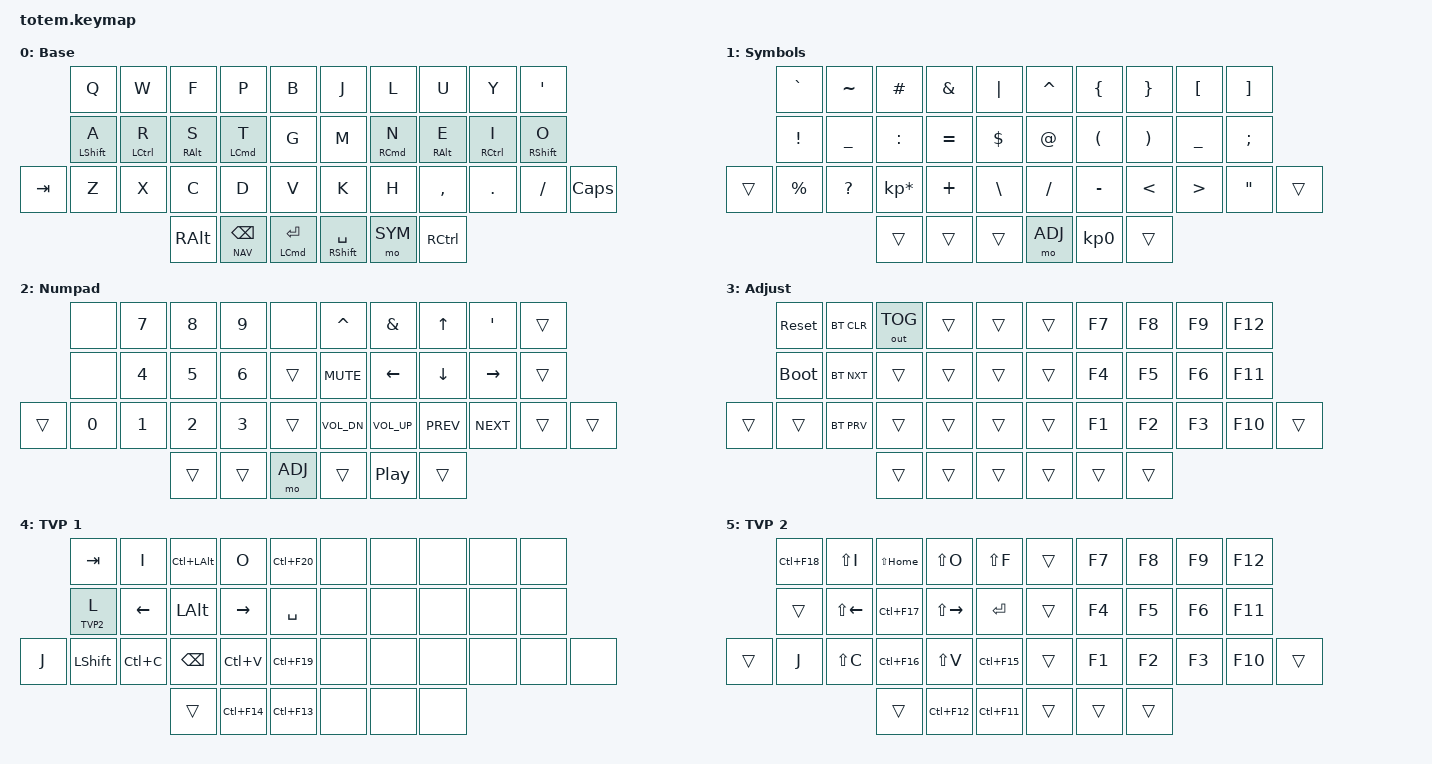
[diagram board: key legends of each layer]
//
//                                                        ▀▀▀▀▀     ▀▀▀▀▀          ▀▀█▀▀
//                                                        ▄▀▀▀▄  ▄  ▄▀▀▀▄  ▄  ▄▀▀▀▄  █  ▄▀▀▀▄
//                                                        █   █  █  █   █  █  █   █  █  █   █
//                                                         ▀▀▀   █   ▀▀▀   █   ▀▀▀   ▀   ▀▀▀
//                                                               █      ▄▄▄█▄▄▄    █   █  
//                                                               ▀      █  █  █     █▄█
//                                                             ▀▀▀▀▀    █  █  █      ▀
//                                                                      ▀  ▀  ▀
//
// ▄▄▄▄▄▄▄▄▄▄▄▄▄▄▄▄▄▄▄▄▄▄▄▄▄▄▄▄▄▄▄▄▄▄▄▄▄▄▄▄▄▄▄▄▄▄▄▄▄▄▄▄▄▄▄▄▄▄▄▄▄▄▄▄▄▄▄▄▄▄▄▄▄▄▄▄▄▄▄▄▄▄▄▄▄▄▄▄▄▄▄▄▄▄▄▄▄▄▄▄▄▄▄▄▄▄▄▄▄▄▄▄▄▄▄▄▄▄▄▄▄▄▄▄▄▄▄▄▄▄▄▄▄▄▄▄▄▄▄▄▄▄▄▄▄▄▄▄▄

#include <behaviors.dtsi>
#include <dt-bindings/zmk/bt.h>
#include <dt-bindings/zmk/keys.h>
#include <dt-bindings/zmk/outputs.h>

#define BASE 0
#define NAV  1
#define SYM  2
#define ADJ  3
#define TVP1 4
#define TVP2 5

&mt {
    quick-tap-ms = <100>;
    global-quick-tap;
    flavor = "tap-preferred";
    tapping-term-ms = <170>;
};

/ {
    combos {
        compatible = "zmk,combos";

        combo_esc {
            timeout-ms = <50>;
            key-positions = <0 1>;
            bindings = <&kp ESC>;
        };

        combo_caps {
            bindings = <&caps_word>;
            key-positions = <21 22>;
        };

        caps-left {
            bindings = <&kp LEFT>;
            key-positions = <31 16>;
        };

        caps-down {
            bindings = <&kp DOWN_ARROW>;
            key-positions = <31 17>;
        };

        caps-up {
            bindings = <&kp UP_ARROW>;
            key-positions = <31 18>;
        };

        caps-right {
            bindings = <&kp UP_ARROW>;
            key-positions = <31 19>;
        };
    };

    behaviors {
        hml: hml {
            compatible = "zmk,behavior-hold-tap";
            label = "HML";
            bindings = <&kp>, <&kp>;

            #binding-cells = <2>;
            hold-trigger-key-positions = <5 6 7 8 9 15 16 17 18 19 26 27 28 29 30 31 35 36 37 32 33 34>;
            flavor = "balanced";
            tapping-term-ms = <300>;
            quick-tap-ms = <175>;
            require-prior-idle-ms = <150>;
            hold-trigger-on-release;
        };

        hmr: hmr {
            compatible = "zmk,behavior-hold-tap";
            label = "HMR";
            bindings = <&kp>, <&kp>;

            #binding-cells = <2>;
            flavor = "balanced";
            tapping-term-ms = <300>;
            hold-trigger-key-positions = <0 1 2 3 4 10 11 12 13 14 20 21 22 23 24 25 32 33 34 35 36 37>;
            quick-tap-ms = <175>;
            require-prior-idle-ms = <150>;
            hold-trigger-on-release;
        };

        ht: ht {
            compatible = "zmk,behavior-hold-tap";
            label = "hold tap";
            bindings = <&kp>, <&kp>;

            #binding-cells = <2>;
            tapping-term-ms = <250>;
            flavor = "balanced";
            quick-tap-ms = <200>;
        };

        htl: htl {
            compatible = "zmk,behavior-hold-tap";
            label = "hold tap layer";
            bindings = <&mo>, <&kp>;

            #binding-cells = <2>;
            tapping-term-ms = <300>;
            quick-tap-ms = <200>;
            flavor = "hold-preferred";
        };
    };

    keymap {
        compatible = "zmk,keymap";

        // ▄▄▄▄▄▄▄▄▄▄▄▄▄▄▄▄▄▄▄▄▄▄▄▄▄▄▄▄▄▄▄▄▄▄▄▄▄▄▄▄▄▄▄▄▄▄▄▄▄▄▄▄▄▄▄▄▄▄▄▄▄▄▄▄▄▄▄▄▄▄▄▄▄▄▄▄▄▄▄▄▄▄▄▄▄▄▄▄▄▄▄▄▄▄▄▄▄▄▄▄▄▄▄▄▄▄▄▄▄▄▄▄▄▄▄▄▄▄▄▄▄▄▄▄▄▄▄▄▄▄▄▄▄▄▄▄▄▄▄▄▄▄▄▄▄▄▄▄▄

        base_layer {
            display-name = "Base";

            // ┏━━━━━━━━━━━━━━━━━━━━━━━━━━━━━━━━━━━━━━━┓

            label = "BASE";

            // ┗━━━━━━━━━━━━━━━━━━━━━━━━━━━━━━━━━━━━━━━┛
            //             ┏━━━━━━━━━━━┳━━━━━━━━━━━┳━━━━━━━━━━━┳━━━━━━━━━━━┳━━━━━━━━━━━┓   ┏━━━━━━━━━━━┳━━━━━━━━━━━┳━━━━━━━━━━━┳━━━━━━━━━━━┳━━━━━━━━━━━┓
            //             ┃     Q     ┃     W     ┃     F     ┃     P     ┃     B     ┃   ┃     J     ┃     L     ┃     U     ┃     Y     ┃     ;     ┃
            //             ┣━━━━━━━━━━━╋━━━━━━━━━━━╋━━━━━━━━━━━╋━━━━━━━━━━━╋━━━━━━━━━━━┫   ┣━━━━━━━━━━━╋━━━━━━━━━━━╋━━━━━━━━━━━╋━━━━━━━━━━━╋━━━━━━━━━━━┫
            //             ┃     A     ┃     R     ┃     S     ┃     T     ┃     D     ┃   ┃     M     ┃     N     ┃     E     ┃     I     ┃     O     ┃
            // ┏━━━━━━━━━━━╋━━━━━━━━━━━╋━━━━━━━━━━━╋━━━━━━━━━━━╋━━━━━━━━━━━╋━━━━━━━━━━━┫   ┣━━━━━━━━━━━╋━━━━━━━━━━━╋━━━━━━━━━━━╋━━━━━━━━━━━╋━━━━━━━━━━━╋━━━━━━━━━━━┓
            // ┃     Q     ┃     Z     ┃     X     ┃     C     ┃     D     ┃     V     ┃   ┃     K     ┃     H     ┃     ,     ┃     .     ┃     /     ┃     \     ┃
            // ┗━━━━━━━━━━━┻━━━━━━━━━━━┻━━━━━━━━━━━╋━━━━━━━━━━━╋━━━━━━━━━━━╋━━━━━━━━━━━┫   ┣━━━━━━━━━━━╋━━━━━━━━━━━╋━━━━━━━━━━━╋━━━━━━━━━━━┻━━━━━━━━━━━┻━━━━━━━━━━━┛
            //                                     ┃    DEL    ┃    TAB    ┃   ENTER   ┃   ┃    SPC    ┃           ┃   BSPC    ┃
            //                                     ┗━━━━━━━━━━━┻━━━━━━━━━━━┻━━━━━━━━━━━┛   ┗━━━━━━━━━━━┻━━━━━━━━━━━┻━━━━━━━━━━━┛

            bindings = <
         &kp Q          &kp W                &kp F        &kp P                &kp B                     &kp J             &kp L                 &kp U              &kp Y                 &kp SQT
         &hml LSHIFT A  &hml LEFT_CONTROL R  &hml RALT S  &hml LEFT_COMMAND T  &kp G                     &kp M             &hmr RIGHT_COMMAND N  &hmr RALT E        &hmr RIGHT_CONTROL I  &hmr RSHIFT O
&kp TAB  &kp Z          &kp X                &kp C        &kp D                &kp V                     &kp K             &kp H                 &kp COMMA          &kp DOT               &kp FSLH       &kp CAPS
                                             &kp RALT     &htl NAV BACKSPACE   &ht LEFT_COMMAND ENTER    &ht RSHIFT SPACE  &mo SYM               &kp RIGHT_CONTROL
            >;
        };

        // ▄▄▄▄▄▄▄▄▄▄▄▄▄▄▄▄▄▄▄▄▄▄▄▄▄▄▄▄▄▄▄▄▄▄▄▄▄▄▄▄▄▄▄▄▄▄▄▄▄▄▄▄▄▄▄▄▄▄▄▄▄▄▄▄▄▄▄▄▄▄▄▄▄▄▄▄▄▄▄▄▄▄▄▄▄▄▄▄▄▄▄▄▄▄▄▄▄▄▄▄▄▄▄▄▄▄▄▄▄▄▄▄▄▄▄▄▄▄▄▄▄▄▄▄▄▄▄▄▄▄▄▄▄▄▄▄▄▄▄▄▄▄▄▄▄▄▄▄▄

        upper {
            display-name = "Symbols";

            // ┏━━━━━━━━━━━━━━━━━━━━━━━━━━━━━━━━━━━━━━━┓

            label = "upper";

            // ┗━━━━━━━━━━━━━━━━━━━━━━━━━━━━━━━━━━━━━━━┛
            //             ┏━━━━━━━━━━━┳━━━━━━━━━━━┳━━━━━━━━━━━┳━━━━━━━━━━━┳━━━━━━━━━━━┓   ┏━━━━━━━━━━━┳━━━━━━━━━━━┳━━━━━━━━━━━┳━━━━━━━━━━━┳━━━━━━━━━━━┓
            //             ┃           ┃           ┃     UP    ┃           ┃     {     ┃   ┃     }     ┃     7     ┃     8     ┃     9     ┃     +     ┃
            //             ┣━━━━━━━━━━━╋━━━━━━━━━━━╋━━━━━━━━━━━╋━━━━━━━━━━━╋━━━━━━━━━━━┫   ┣━━━━━━━━━━━╋━━━━━━━━━━━╋━━━━━━━━━━━╋━━━━━━━━━━━╋━━━━━━━━━━━┫
            //             ┃   SHIFT   ┃   LEFT    ┃    DOWN   ┃   RIGHT   ┃     [     ┃   ┃     ]     ┃     4     ┃     5     ┃     6     ┃     -     ┃
            // ┏━━━━━━━━━━━╋━━━━━━━━━━━╋━━━━━━━━━━━╋━━━━━━━━━━━╋━━━━━━━━━━━╋━━━━━━━━━━━┫   ┣━━━━━━━━━━━╋━━━━━━━━━━━╋━━━━━━━━━━━╋━━━━━━━━━━━╋━━━━━━━━━━━╋━━━━━━━━━━━┓
            // ┃           ┃           ┃   P UP    ┃  C LOCK   ┃  P DOWN   ┃     (     ┃   ┃     )     ┃     1     ┃     2     ┃     3     ┃     *     ┃           ┃
            // ┗━━━━━━━━━━━┻━━━━━━━━━━━┻━━━━━━━━━━━╋━━━━━━━━━━━╋━━━━━━━━━━━╋━━━━━━━━━━━┫   ┣━━━━━━━━━━━╋━━━━━━━━━━━╋━━━━━━━━━━━╋━━━━━━━━━━━┻━━━━━━━━━━━┻━━━━━━━━━━━┛
            //                                     ┃           ┃    TAB    ┃    SPC    ┃   ┃    DEL    ┃     0     ┃           ┃
            //                                     ┗━━━━━━━━━━━┻━━━━━━━━━━━┻━━━━━━━━━━━┛   ┗━━━━━━━━━━━┻━━━━━━━━━━━┻━━━━━━━━━━━┛

            bindings = <
        &kp GRAVE    &kp TILDE     &kp HASH         &kp AMPS   &kp PIPE         &kp CARET  &kp LBRC   &kp RBRC       &kp LBKT   &kp RBKT
        &kp EXCL     &kp UNDER     &kp COLON        &kp EQUAL  &kp DOLLAR       &kp AT     &kp LPAR   &kp RPAR       &kp UNDER  &kp SEMI
&trans  &kp PERCENT  &kp QUESTION  &kp KP_MULTIPLY  &kp PLUS   &kp BACKSLASH    &kp SLASH  &kp MINUS  &kp LESS_THAN  &kp GT     &kp DOUBLE_QUOTES  &trans
                                   &trans           &trans     &trans           &mo ADJ    &kp KP_N0  &trans
            >;
        };

        // ▄▄▄▄▄▄▄▄▄▄▄▄▄▄▄▄▄▄▄▄▄▄▄▄▄▄▄▄▄▄▄▄▄▄▄▄▄▄▄▄▄▄▄▄▄▄▄▄▄▄▄▄▄▄▄▄▄▄▄▄▄▄▄▄▄▄▄▄▄▄▄▄▄▄▄▄▄▄▄▄▄▄▄▄▄▄▄▄▄▄▄▄▄▄▄▄▄▄▄▄▄▄▄▄▄▄▄▄▄▄▄▄▄▄▄▄▄▄▄▄▄▄▄▄▄▄▄▄▄▄▄▄▄▄▄▄▄▄▄▄▄▄▄▄▄▄▄▄▄

        sim_layer {
            display-name = "Numpad";

            // ┏━━━━━━━━━━━━━━━━━━━━━━━━━━━━━━━━━━━━━━━┓

            label = "SYM";

            // ┗━━━━━━━━━━━━━━━━━━━━━━━━━━━━━━━━━━━━━━━┛
            //             ┏━━━━━━━━━━━┳━━━━━━━━━━━┳━━━━━━━━━━━┳━━━━━━━━━━━┳━━━━━━━━━━━┓   ┏━━━━━━━━━━━┳━━━━━━━━━━━┳━━━━━━━━━━━┳━━━━━━━━━━━┳━━━━━━━━━━━┓
            //             ┃     !     ┃     @     ┃     #     ┃     $     ┃     %     ┃   ┃     ˆ     ┃     &     ┃     Ü     ┃     '     ┃     "     ┃
            //             ┣━━━━━━━━━━━╋━━━━━━━━━━━╋━━━━━━━━━━━╋━━━━━━━━━━━╋━━━━━━━━━━━┫   ┣━━━━━━━━━━━╋━━━━━━━━━━━╋━━━━━━━━━━━╋━━━━━━━━━━━╋━━━━━━━━━━━┫
            //             ┃     Ä     ┃           ┃    SZ     ┃           ┃           ┃   ┃   MUTE    ┃   YEN     ┃   EURO    ┃  POUND    ┃     Ö     ┃
            // ┏━━━━━━━━━━━╋━━━━━━━━━━━╋━━━━━━━━━━━╋━━━━━━━━━━━╋━━━━━━━━━━━╋━━━━━━━━━━━┫   ┣━━━━━━━━━━━╋━━━━━━━━━━━╋━━━━━━━━━━━╋━━━━━━━━━━━╋━━━━━━━━━━━╋━━━━━━━━━━━┓
            // ┃           ┃  EMAIL1   ┃  EMAIL2   ┃           ┃           ┃           ┃   ┃   VOL-    ┃   VOL+    ┃   LAST    ┃   NEXT    ┃     \     ┃           ┃
            // ┗━━━━━━━━━━━┻━━━━━━━━━━━┻━━━━━━━━━━━╋━━━━━━━━━━━╋━━━━━━━━━━━╋━━━━━━━━━━━┫   ┣━━━━━━━━━━━╋━━━━━━━━━━━╋━━━━━━━━━━━╋━━━━━━━━━━━┻━━━━━━━━━━━┻━━━━━━━━━━━┛
            //                                     ┃           ┃    GIF    ┃    ADJ    ┃   ┃           ┃           ┃           ┃
            //                                     ┗━━━━━━━━━━━┻━━━━━━━━━━━┻━━━━━━━━━━━┛   ┗━━━━━━━━━━━┻━━━━━━━━━━━┻━━━━━━━━━━━┛

            bindings = <
        &none   &kp N7        &kp N8        &kp N9        &none      &kp CARET     &kp AMPS      &kp UP_ARROW    &kp SQT     &trans
        &none   &kp NUMBER_4  &kp N5        &kp NUMBER_6  &trans     &kp C_MUTE    &kp LEFT      &kp DOWN_ARROW  &kp RIGHT   &trans
&trans  &kp N0  &kp NUMBER_1  &kp NUMBER_2  &kp NUMBER_3  &trans     &kp C_VOL_DN  &kp C_VOL_UP  &kp C_PREV      &kp C_NEXT  &trans  &trans
                              &trans        &trans        &mo ADJ    &trans        &kp C_PP      &trans
            >;
        };

        // ▄▄▄▄▄▄▄▄▄▄▄▄▄▄▄▄▄▄▄▄▄▄▄▄▄▄▄▄▄▄▄▄▄▄▄▄▄▄▄▄▄▄▄▄▄▄▄▄▄▄▄▄▄▄▄▄▄▄▄▄▄▄▄▄▄▄▄▄▄▄▄▄▄▄▄▄▄▄▄▄▄▄▄▄▄▄▄▄▄▄▄▄▄▄▄▄▄▄▄▄▄▄▄▄▄▄▄▄▄▄▄▄▄▄▄▄▄▄▄▄▄▄▄▄▄▄▄▄▄▄▄▄▄▄▄▄▄▄▄▄▄▄▄▄▄▄▄▄▄

        adjust_layer {
            display-name = "Adjust";

            // ┏━━━━━━━━━━━━━━━━━━━━━━━━━━━━━━━━━━━━━━━┓

            label = "ADJ";

            // ┗━━━━━━━━━━━━━━━━━━━━━━━━━━━━━━━━━━━━━━━┛
            //             ┏━━━━━━━━━━━┳━━━━━━━━━━━┳━━━━━━━━━━━┳━━━━━━━━━━━┳━━━━━━━━━━━┓   ┏━━━━━━━━━━━┳━━━━━━━━━━━┳━━━━━━━━━━━┳━━━━━━━━━━━┳━━━━━━━━━━━┓
            //             ┃   RESET   ┃ BT CLEAR  ┃  OUT TOG  ┃           ┃           ┃   ┃           ┃    F7     ┃    F8     ┃    F9     ┃    F12    ┃
            //             ┣━━━━━━━━━━━╋━━━━━━━━━━━╋━━━━━━━━━━━╋━━━━━━━━━━━╋━━━━━━━━━━━┫   ┣━━━━━━━━━━━╋━━━━━━━━━━━╋━━━━━━━━━━━╋━━━━━━━━━━━╋━━━━━━━━━━━┫
            //             ┃ BOOTLOAD  ┃ BT NEXT   ┃           ┃           ┃           ┃   ┃           ┃    F4     ┃    F5     ┃    F6     ┃    F11    ┃
            // ┏━━━━━━━━━━━╋━━━━━━━━━━━╋━━━━━━━━━━━╋━━━━━━━━━━━╋━━━━━━━━━━━╋━━━━━━━━━━━┫   ┣━━━━━━━━━━━╋━━━━━━━━━━━╋━━━━━━━━━━━╋━━━━━━━━━━━╋━━━━━━━━━━━╋━━━━━━━━━━━┓
            // ┃           ┃           ┃ BT PREV   ┃           ┃           ┃           ┃   ┃           ┃    F1     ┃    F2     ┃    F3     ┃    F10    ┃           ┃
            // ┗━━━━━━━━━━━┻━━━━━━━━━━━┻━━━━━━━━━━━╋━━━━━━━━━━━╋━━━━━━━━━━━╋━━━━━━━━━━━┫   ┣━━━━━━━━━━━╋━━━━━━━━━━━╋━━━━━━━━━━━╋━━━━━━━━━━━┻━━━━━━━━━━━┻━━━━━━━━━━━┛
            //                                     ┃           ┃           ┃           ┃   ┃           ┃           ┃           ┃
            //                                     ┗━━━━━━━━━━━┻━━━━━━━━━━━┻━━━━━━━━━━━┛   ┗━━━━━━━━━━━┻━━━━━━━━━━━┻━━━━━━━━━━━┛

            bindings = <
        &sys_reset   &bt BT_CLR  &out OUT_TOG  &trans  &trans    &trans  &kp F7  &kp F8  &kp F9  &kp F12
        &bootloader  &bt BT_NXT  &trans        &trans  &trans    &trans  &kp F4  &kp F5  &kp F6  &kp F11
&trans  &trans       &bt BT_PRV  &trans        &trans  &trans    &trans  &kp F1  &kp F2  &kp F3  &kp F10  &trans
                                 &trans        &trans  &trans    &trans  &trans  &trans
            >;
        };

        // ▄▄▄▄▄▄▄▄▄▄▄▄▄▄▄▄▄▄▄▄▄▄▄▄▄▄▄▄▄▄▄▄▄▄▄▄▄▄▄▄▄▄▄▄▄▄▄▄▄▄▄▄▄▄▄▄▄▄▄▄▄▄▄▄▄▄▄▄▄▄▄▄▄▄▄▄▄▄▄▄▄▄▄▄▄▄▄▄▄▄▄▄▄▄▄▄▄▄▄▄▄▄▄▄▄▄▄▄▄▄▄▄▄▄▄▄▄▄▄▄▄▄▄▄▄▄▄▄▄▄▄▄▄▄▄▄▄▄▄▄▄▄▄▄▄▄▄▄▄

        tvp1_layer {
            // ┏━━━━━━━━━━━━━━━━━━━━━━━━━━━━━━━━━━━━━━━┓

            label = "TVP 1";

            // ┗━━━━━━━━━━━━━━━━━━━━━━━━━━━━━━━━━━━━━━━┛
            //             ┏━━━━━━━━━━━┳━━━━━━━━━━━┳━━━━━━━━━━━┳━━━━━━━━━━━┳━━━━━━━━━━━┓   ┏━━━━━━━━━━━┳━━━━━━━━━━━┳━━━━━━━━━━━┳━━━━━━━━━━━┳━━━━━━━━━━━┓
            //             ┃ NEXT FILE ┃ MARK IN   ┃ ROTATE    ┃ MARK OUT  ┃ SHOW SNAP ┃   ┃           ┃           ┃           ┃           ┃           ┃
            //             ┣━━━━━━━━━━━╋━━━━━━━━━━━╋━━━━━━━━━━━╋━━━━━━━━━━━╋━━━━━━━━━━━┫   ┣━━━━━━━━━━━╋━━━━━━━━━━━╋━━━━━━━━━━━╋━━━━━━━━━━━╋━━━━━━━━━━━┫
            //             ┃ TVP II    ┃ LEFT      ┃ PAN       ┃ RIGHT     ┃ PLAY/FLIP ┃   ┃           ┃           ┃           ┃           ┃           ┃
            // ┏━━━━━━━━━━━╋━━━━━━━━━━━╋━━━━━━━━━━━╋━━━━━━━━━━━╋━━━━━━━━━━━╋━━━━━━━━━━━┫   ┣━━━━━━━━━━━╋━━━━━━━━━━━╋━━━━━━━━━━━╋━━━━━━━━━━━╋━━━━━━━━━━━╋━━━━━━━━━━━┓
            // ┃ FULLSCR   ┃ SHIFT     ┃ COPY      ┃ DELETE    ┃ PASTE     ┃ IMG MARK  ┃   ┃           ┃           ┃           ┃           ┃           ┃           ┃
            // ┗━━━━━━━━━━━┻━━━━━━━━━━━┻━━━━━━━━━━━╋━━━━━━━━━━━╋━━━━━━━━━━━╋━━━━━━━━━━━┫   ┣━━━━━━━━━━━╋━━━━━━━━━━━╋━━━━━━━━━━━╋━━━━━━━━━━━┻━━━━━━━━━━━┻━━━━━━━━━━━┛
            //                                     ┃           ┃ UNDO/SAVE ┃  SEL/MOV  ┃   ┃           ┃           ┃           ┃
            //                                     ┗━━━━━━━━━━━┻━━━━━━━━━━━┻━━━━━━━━━━━┛   ┗━━━━━━━━━━━┻━━━━━━━━━━━┻━━━━━━━━━━━┛

            bindings = <
       &kp TAB     &kp I      &kp LC(LALT)  &kp O        &kp LC(F20)    &none  &none  &none  &none  &none
       &lt TVP2 L  &kp LEFT   &kp LALT      &kp RIGHT    &kp SPACE      &none  &none  &none  &none  &none
&kp J  &kp LSHFT   &kp LC(C)  &kp BSPC      &kp LC(V)    &kp LC(F19)    &none  &none  &none  &none  &none  &none
                              &trans        &kp LC(F14)  &kp LC(F13)    &none  &none  &none
            >;
        };

        // ▄▄▄▄▄▄▄▄▄▄▄▄▄▄▄▄▄▄▄▄▄▄▄▄▄▄▄▄▄▄▄▄▄▄▄▄▄▄▄▄▄▄▄▄▄▄▄▄▄▄▄▄▄▄▄▄▄▄▄▄▄▄▄▄▄▄▄▄▄▄▄▄▄▄▄▄▄▄▄▄▄▄▄▄▄▄▄▄▄▄▄▄▄▄▄▄▄▄▄▄▄▄▄▄▄▄▄▄▄▄▄▄▄▄▄▄▄▄▄▄▄▄▄▄▄▄▄▄▄▄▄▄▄▄▄▄▄▄▄▄▄▄▄▄▄▄▄▄▄

        tvp2_layer {
            // ┏━━━━━━━━━━━━━━━━━━━━━━━━━━━━━━━━━━━━━━━┓

            label = "TVP 2";

            // ┗━━━━━━━━━━━━━━━━━━━━━━━━━━━━━━━━━━━━━━━┛
            //             ┏━━━━━━━━━━━┳━━━━━━━━━━━┳━━━━━━━━━━━┳━━━━━━━━━━━┳━━━━━━━━━━━┓   ┏━━━━━━━━━━━┳━━━━━━━━━━━┳━━━━━━━━━━━┳━━━━━━━━━━━┳━━━━━━━━━━━┓
            //             ┃ SOLO      ┃ TOGGLE IN ┃ RESET ROT ┃ TOGGLE OUT┃ TAKE SNAP ┃   ┃           ┃           ┃           ┃           ┃           ┃
            //             ┣━━━━━━━━━━━╋━━━━━━━━━━━╋━━━━━━━━━━━╋━━━━━━━━━━━╋━━━━━━━━━━━┫   ┣━━━━━━━━━━━╋━━━━━━━━━━━╋━━━━━━━━━━━╋━━━━━━━━━━━╋━━━━━━━━━━━┫
            //             ┃ ---       ┃ LAST KEY  ┃ NEW KEY   ┃ NEXT KEY  ┃ ENTER     ┃   ┃           ┃           ┃           ┃           ┃           ┃
            // ┏━━━━━━━━━━━╋━━━━━━━━━━━╋━━━━━━━━━━━╋━━━━━━━━━━━╋━━━━━━━━━━━╋━━━━━━━━━━━┫   ┣━━━━━━━━━━━╋━━━━━━━━━━━╋━━━━━━━━━━━╋━━━━━━━━━━━╋━━━━━━━━━━━╋━━━━━━━━━━━┓
            // ┃           ┃ FULLSCR   ┃ CPY2BRUSH ┃ DEL HEAD  ┃ PSTinPLACE┃ BOOK MARK ┃   ┃           ┃           ┃           ┃           ┃           ┃           ┃
            // ┗━━━━━━━━━━━┻━━━━━━━━━━━┻━━━━━━━━━━━╋━━━━━━━━━━━╋━━━━━━━━━━━╋━━━━━━━━━━━┫   ┣━━━━━━━━━━━╋━━━━━━━━━━━╋━━━━━━━━━━━╋━━━━━━━━━━━┻━━━━━━━━━━━┻━━━━━━━━━━━┛
            //                                     ┃           ┃ REDO/SAV1 ┃TRANS/WARP ┃   ┃           ┃           ┃           ┃
            //                                     ┗━━━━━━━━━━━┻━━━━━━━━━━━┻━━━━━━━━━━━┛   ┗━━━━━━━━━━━┻━━━━━━━━━━━┻━━━━━━━━━━━┛

            bindings = <
        &kp LC(F18)  &kp LS(I)     &kp LS(HOME)  &kp LS(O)      &kp LS(F)      &trans  &kp F7  &kp F8  &kp F9  &kp F12
        &trans       &kp LS(LEFT)  &kp LC(F17)   &kp LS(RIGHT)  &kp RET        &trans  &kp F4  &kp F5  &kp F6  &kp F11
&trans  &kp J        &kp LS(C)     &kp LC(F16)   &kp LS(V)      &kp LC(F15)    &trans  &kp F1  &kp F2  &kp F3  &kp F10  &trans
                                   &trans        &kp LC(F12)    &kp LC(F11)    &trans  &trans  &trans
            >;
        };
    };
};
